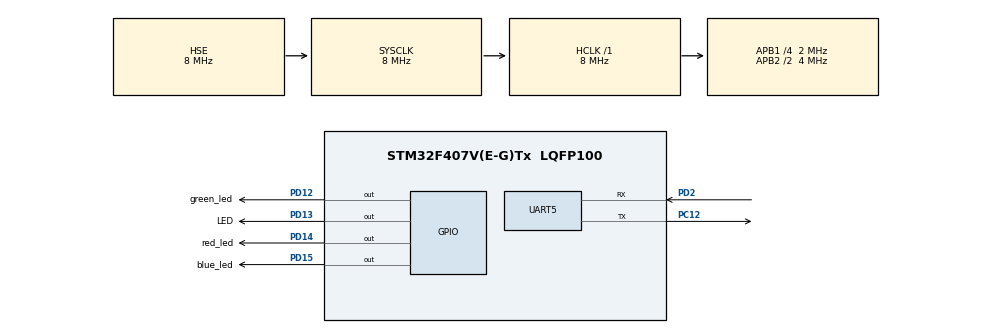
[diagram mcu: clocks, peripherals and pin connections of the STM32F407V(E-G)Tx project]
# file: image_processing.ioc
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Mcu.Family=STM32F4
Mcu.Name=STM32F407V(E-G)Tx
Mcu.Package=LQFP100
NVIC.PriorityGroup=NVIC_PRIORITYGROUP_0
NVIC.UART5_IRQn=true\:0\:0\:false\:false\:true\:true\:true\:true
PA13.Mode=Serial_Wire
PA13.Signal=SYS_JTMS-SWDIO
PA14.Mode=Serial_Wire
PA14.Signal=SYS_JTCK-SWCLK
PC12.Mode=Asynchronous
PC12.Signal=UART5_TX
PD12.GPIO_Label=green_led
PD12.Signal=GPIO_Output
PD13.GPIO_Label=LED
PD13.Signal=GPIO_Output
PD14.GPIO_Label=red_led
PD14.Signal=GPIO_Output
PD15.GPIO_Label=blue_led
PD15.Signal=GPIO_Output
PD2.Mode=Asynchronous
PD2.Signal=UART5_RX
PH0-OSC_IN.Mode=HSE-External-Oscillator
PH0-OSC_IN.Signal=RCC_OSC_IN
PH1-OSC_OUT.Mode=HSE-External-Oscillator
PH1-OSC_OUT.Signal=RCC_OSC_OUT
ProjectManager.HeapSize=0x200
ProjectManager.StackSize=0x400
ProjectManager.TargetToolchain=STM32CubeIDE
RCC.48MHZClocksFreq_Value=48000000
RCC.AHBFreq_Value=8000000
RCC.APB1CLKDivider=RCC_HCLK_DIV4
RCC.APB1Freq_Value=2000000
RCC.APB1TimFreq_Value=4000000
RCC.APB2CLKDivider=RCC_HCLK_DIV2
RCC.APB2Freq_Value=4000000
RCC.APB2TimFreq_Value=8000000
RCC.CortexFreq_Value=8000000
RCC.HCLKFreq_Value=8000000
RCC.HSE_VALUE=8000000
RCC.HSI_VALUE=16000000
RCC.LSE_VALUE=32768
RCC.PLLM=8
RCC.PLLN=336
RCC.PLLQ=7
RCC.PLLSourceVirtual=RCC_PLLSOURCE_HSE
RCC.SYSCLKFreq_VALUE=8000000
RCC.SYSCLKSource=RCC_SYSCLKSOURCE_HSE
RCC.VCOOutputFreq_Value=336000000
UART5.VirtualMode=Asynchronous
board=STM32F407G-DISC1

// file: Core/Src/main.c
/* USER CODE BEGIN Header */
/**
  ******************************************************************************
  * @file           : main.c
  * @brief          : Main program body
  ******************************************************************************
  * @attention
  *
  * Copyright (c) 2023 STMicroelectronics.
  * All rights reserved.
  *
  * This software is licensed under terms that can be found in the LICENSE file
  * in the root directory of this software component.
  * If no LICENSE file comes with this software, it is provided AS-IS.
  *
  ******************************************************************************
  */
/* USER CODE END Header */
#include "main.h"

/* USER CODE BEGIN Includes */
#include "string.h"
/* USER CODE END Includes */

UART_HandleTypeDef huart5;

void SystemClock_Config(void);
static void MX_GPIO_Init(void);
static void MX_UART5_Init(void);

/* USER CODE BEGIN 0 */
char RxBuffer[1];
void HAL_UART_RxCpltCallback(UART_HandleTypeDef *huart)
{
	HAL_UART_Transmit(&huart5,(uint8_t *)"Received: ",10,1000);
	HAL_UART_Transmit(&huart5,(uint8_t *)RxBuffer, sizeof(RxBuffer),1000);

	 if(strcmp(RxBuffer,"r") == 0)
	 {
		  HAL_GPIO_WritePin(blue_led_GPIO_Port, blue_led_Pin, GPIO_PIN_RESET);
		  HAL_GPIO_WritePin(green_led_GPIO_Port, green_led_Pin, GPIO_PIN_RESET);
		  HAL_GPIO_WritePin(red_led_GPIO_Port, red_led_Pin, GPIO_PIN_SET);
		  HAL_UART_Transmit(&huart5,(uint8_t *) "\r\nkirmizi\r\n",10, 1000);
	 }
	 else if(strcmp(RxBuffer,"g") == 0)
	 {
	      HAL_GPIO_WritePin(blue_led_GPIO_Port, blue_led_Pin, GPIO_PIN_RESET);
	      HAL_GPIO_WritePin(red_led_GPIO_Port, red_led_Pin, GPIO_PIN_RESET);
		  HAL_GPIO_WritePin(green_led_GPIO_Port, green_led_Pin, GPIO_PIN_SET);
		HAL_UART_Transmit(&huart5,(uint8_t *) "\r\nyesil\r\n",10, 1000);
	 }
	 else if(strcmp(RxBuffer,"b") == 0)
	 {
	 	  HAL_GPIO_WritePin(green_led_GPIO_Port, green_led_Pin, GPIO_PIN_RESET);
	 	  HAL_GPIO_WritePin(red_led_GPIO_Port, red_led_Pin, GPIO_PIN_RESET);
	 	  HAL_GPIO_WritePin(blue_led_GPIO_Port, blue_led_Pin, GPIO_PIN_SET);
	 	 HAL_UART_Transmit(&huart5,(uint8_t *) "\r\nmavi\r\n",10, 1000);
	 }

  HAL_UART_Receive_IT(&huart5, (uint8_t*)RxBuffer, sizeof(RxBuffer));
}
/* USER CODE END 0 */

int main(void)
{

  /* MCU Configuration--------------------------------------------------------*/

  /* Reset of all peripherals, Initializes the Flash interface and the Systick. */
  HAL_Init();

  /* Configure the system clock */
  SystemClock_Config();

  /* Initialize all configured peripherals */
  MX_GPIO_Init();
  MX_UART5_Init();
  /* USER CODE BEGIN 2 */
HAL_UART_Receive_IT(&huart5, (uint8_t*)RxBuffer, sizeof(RxBuffer));
  /* USER CODE END 2 */

  /* Infinite loop */
  while (1)
  {

    /* USER CODE BEGIN 3 */
	  HAL_GPIO_TogglePin(LED_GPIO_Port, LED_Pin);
	  HAL_Delay(500);
  }
  /* USER CODE END 3 */
}

void SystemClock_Config(void)
{
  RCC_OscInitTypeDef RCC_OscInitStruct = {0};
  RCC_ClkInitTypeDef RCC_ClkInitStruct = {0};

  /** Configure the main internal regulator output voltage
  */
  __HAL_RCC_PWR_CLK_ENABLE();
  __HAL_PWR_VOLTAGESCALING_CONFIG(PWR_REGULATOR_VOLTAGE_SCALE1);

  /** Initializes the RCC Oscillators according to the specified parameters
  * in the RCC_OscInitTypeDef structure.
  */
  RCC_OscInitStruct.OscillatorType = RCC_OSCILLATORTYPE_HSE;
  RCC_OscInitStruct.HSEState = RCC_HSE_ON;
  RCC_OscInitStruct.PLL.PLLState = RCC_PLL_NONE;
  if (HAL_RCC_OscConfig(&RCC_OscInitStruct) != HAL_OK)
  {
    Error_Handler();
  }

  /** Initializes the CPU, AHB and APB buses clocks
  */
  RCC_ClkInitStruct.ClockType = RCC_CLOCKTYPE_HCLK|RCC_CLOCKTYPE_SYSCLK
                              |RCC_CLOCKTYPE_PCLK1|RCC_CLOCKTYPE_PCLK2;
  RCC_ClkInitStruct.SYSCLKSource = RCC_SYSCLKSOURCE_HSE;
  RCC_ClkInitStruct.AHBCLKDivider = RCC_SYSCLK_DIV1;
  RCC_ClkInitStruct.APB1CLKDivider = RCC_HCLK_DIV4;
  RCC_ClkInitStruct.APB2CLKDivider = RCC_HCLK_DIV2;

  if (HAL_RCC_ClockConfig(&RCC_ClkInitStruct, FLASH_LATENCY_0) != HAL_OK)
  {
    Error_Handler();
  }
}

static void MX_UART5_Init(void)
{

  huart5.Instance = UART5;
  huart5.Init.BaudRate = 115200;
  huart5.Init.WordLength = UART_WORDLENGTH_8B;
  huart5.Init.StopBits = UART_STOPBITS_1;
  huart5.Init.Parity = UART_PARITY_NONE;
  huart5.Init.Mode = UART_MODE_TX_RX;
  huart5.Init.HwFlowCtl = UART_HWCONTROL_NONE;
  huart5.Init.OverSampling = UART_OVERSAMPLING_16;
  if (HAL_UART_Init(&huart5) != HAL_OK)
  {
    Error_Handler();
  }

}

static void MX_GPIO_Init(void)
{
  GPIO_InitTypeDef GPIO_InitStruct = {0};

  /* GPIO Ports Clock Enable */
  __HAL_RCC_GPIOH_CLK_ENABLE();
  __HAL_RCC_GPIOD_CLK_ENABLE();
  __HAL_RCC_GPIOA_CLK_ENABLE();
  __HAL_RCC_GPIOC_CLK_ENABLE();

  /*Configure GPIO pin Output Level */
  HAL_GPIO_WritePin(GPIOD, green_led_Pin|LED_Pin|red_led_Pin|blue_led_Pin, GPIO_PIN_RESET);

  /*Configure GPIO pins : green_led_Pin LED_Pin red_led_Pin blue_led_Pin */
  GPIO_InitStruct.Pin = green_led_Pin|LED_Pin|red_led_Pin|blue_led_Pin;
  GPIO_InitStruct.Mode = GPIO_MODE_OUTPUT_PP;
  GPIO_InitStruct.Pull = GPIO_NOPULL;
  GPIO_InitStruct.Speed = GPIO_SPEED_FREQ_LOW;
  HAL_GPIO_Init(GPIOD, &GPIO_InitStruct);

}

void Error_Handler(void)
{
  __disable_irq();
  while (1)
  {
  }
}
